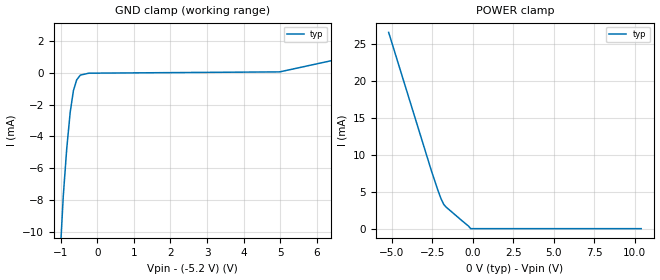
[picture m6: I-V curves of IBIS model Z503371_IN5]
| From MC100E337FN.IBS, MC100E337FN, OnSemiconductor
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| (C) COPYRIGHT 1993-2000
| MENTOR GRAPHICS CORPORATION
| ICX STANDARD LIBRARY, ICX PROJECT MODELING,
| ICX CUSTOM MODELING, ICX VENDOR MODEL
| ALL RIGHTS RESERVED.
| THE FOLLOWING ARE TRADEMARKS OR SERVICE MARKS OF
| MENTOR GRAPHICS CORPORATION:ICX (R), ICX STANDARD
| LIBRARY(R), ICX PROJECT MODELING(R), ICX CUSTOM
| MODELING(R), qualityIBIS(TM), MODELVIEWER(TM),
| AND MODELEDITOR(TM)
| ALL COPIES OF SOFTWARE, INCLUDING BUT NOT LIMITED TO
| ANY MODIFICATIONS, ENHANCEMENTS OR DERIVATIVE WORKS,
| MUST CONTAIN ALL MENTOR GRAPHICS CORPORATION'S
| NOTICES AND LEGENDS, INCLUDING THOSE EMBEDDED IN
| SOFTWARE AND THOSE AFFIXED TO SOFTWARE MEDIUM
| AND CONTAINER, AS RECEIVED FROM MENTOR GRAPHICS
| CORPORATION.
| Model Application Version 1.89 2/18/99.
[Model] Z503371_IN5
Model_type Input_ECL
Vinl = -1.475V
Vinh = -1.165V
C_comp 4.000pF NA NA
| variable typ   min   max
[Voltage Range] -5.200V NA NA
[GND Clamp Reference] -5.200V NA NA
[POWER Clamp Reference] 0.000V NA NA
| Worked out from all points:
|   GND clamp passes 1 mA (typ) near -0.64 V on its own axis
[GND Clamp]
-5.2V     -248.6mA   NA         NA
-1.098V   -14.84mA   NA         NA
-932mV    -7.714mA   NA         NA
-839mV    -4.78mA    NA         NA
-744mV    -2.485mA   NA         NA
-657mV    -1.133mA   NA         NA
-566mV    -440uA     NA         NA
-466mV    -140.3uA   NA         NA
-233mV    -20.34uA   NA         NA
4.991V    61.79uA    NA         NA
10.4V     2.765mA    NA         NA
[POWER Clamp]
-5.2V     26.59mA    NA         NA
-2.551V   7.793mA    NA         NA
-2.16V    5.225mA    NA         NA
-1.973V   4.106mA    NA         NA
-1.802V   3.312mA    NA         NA
-1.665V   2.951mA    NA         NA
-732.5mV  1.197mA    NA         NA
-263.6mV  341.6uA    NA         NA
-131.8mV  0A         NA         NA
10.4V     0A         NA         NA
